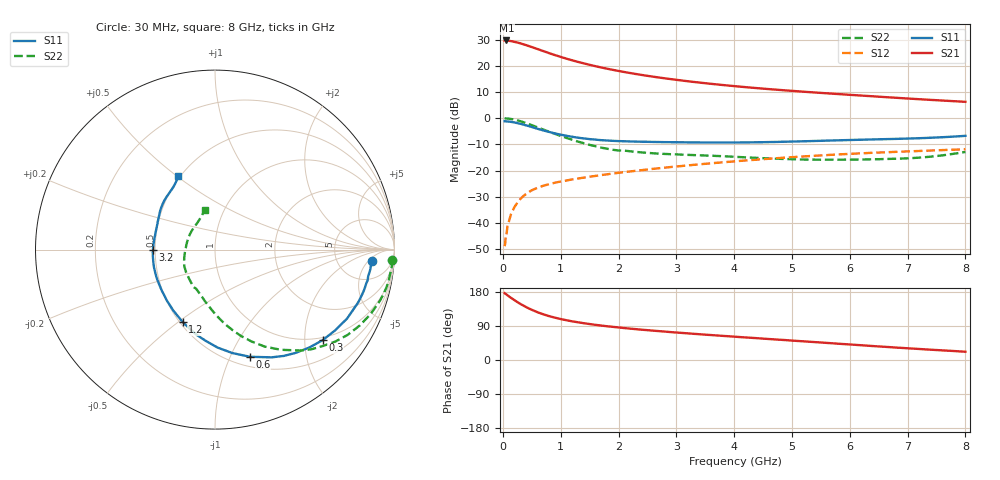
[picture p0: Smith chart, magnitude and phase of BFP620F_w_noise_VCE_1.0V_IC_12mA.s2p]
! Infineon Technologies  Discrete & RF Semiconductors
! BFP620F
! VCE =  1.0 V,  IC =  12 mA
! Common Emitter S-Parameters:  Dec 2014
# GHz  S  MA  R  50
!  f  S11  S21  S12  S22
! GHz  MAG  ANG  MAG  ANG  MAG  ANG  MAG  ANG
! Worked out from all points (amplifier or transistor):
!   95 points, 30 MHz to 8 GHz, reference 50 ohm
!   highest |S21| = 29.7 dB at 60 MHz (marker M1)
!   |S21| within 3 dB of that: start of sweep to 562.8 MHz
!   unconditionally stable (mu >= 1): 3.744 GHz to end of sweep
!   at 300 MHz: K = 0.18, MSG = 29.8 dB, |S12| = -30.9 dB
!   at 3.3 GHz: K = 0.98, MSG = 15.8 dB, |S12| = -17.8 dB
!   at 8 GHz: K = 1.08, MAG = 7.3 dB, |S12| = -11.9 dB
!   lowest NFmin = 0.64 dB at 450 MHz
!   S11 on the Smith chart (normalised r, x): 30 MHz: 11, -6; 300 MHz: 0.93, -2.43; 600 MHz: 0.60, -1.19; 1.2 GHz: 0.52, -0.52; 3.2 GHz: 0.49, -0.00; 8 GHz: 0.49, +0.51
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0.03  0.8743 -4.2  30.44 176.4  0.0036 94.6  0.9887 -3.2
0.06  0.8693 -8.6  30.52 173.1  0.0059 73.4  0.987 -6.8
0.15  0.8477 -21.0  29.53 163.1  0.0155 79.8  0.9627 -17.1
0.25  0.8062 -34.0  27.88 152.9  0.0243 73.3  0.9098 -27.8
0.3  0.7836 -40.1  26.93 148.3  0.0285 71.4  0.8782 -32.8
0.4  0.7301 -52.0  24.92 139.8  0.0356 65.4  0.8058 -41.8
0.45  0.7055 -57.1  23.84 136.0  0.0389 64.0  0.7731 -45.9
0.6  0.6278 -72.0  20.89 126.0  0.047 58.9  0.6678 -56.7
0.7  0.5843 -80.5  19.11 120.5  0.0513 56.6  0.6068 -62.9
0.8  0.546 -88.5  17.48 115.8  0.055 54.8  0.551 -68.3
0.9  0.5124 -95.5  16.05 111.7  0.0587 53.6  0.5019 -73.3
1  0.4857 -102.2  14.8 108.1  0.0617 52.7  0.459 -77.7
1.2  0.4418 -114.1  12.74 102.0  0.0678 51.4  0.3877 -86.0
1.4  0.4113 -124.5  11.13 97.1  0.0733 50.7  0.3326 -93.7
1.6  0.39 -133.7  9.851 92.8  0.079 50.4  0.2915 -101.3
1.9  0.3697 -145.5  8.385 87.5  0.0876 50.0  0.2497 -112.6
2.7  0.3506 -168.7  5.982 76.2  0.1107 48.1  0.2106 -136.0
3.2  0.3454 -179.4  5.075 70.3  0.1255 46.6  0.1994 -146.4
4.1  0.3442 164.7  4.006 60.5  0.1529 42.8  0.181 -161.7
5.4  0.3676 147.4  3.095 47.2  0.192 35.6  0.1616 170.5
6.7  0.4002 131.8  2.494 33.9  0.2254 26.9  0.1672 139.6
8  0.4602 116.4  2.055 21.8  0.2549 18.2  0.2264 104.7
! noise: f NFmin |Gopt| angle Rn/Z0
0.45  0.64  0.22  8  0.21
0.9  0.71  0.2  19  0.18
1.5  0.76  0.19  21  0.13
1.8  0.79  0.19  23  0.11
1.9  0.8  0.14  38  0.14
2.4  0.84  0.12  53  0.12
3.5  0.93  0.11  76  0.12
5.5  1.1  0.1  193  0.09
6  1.14  0.1  221  0.14
